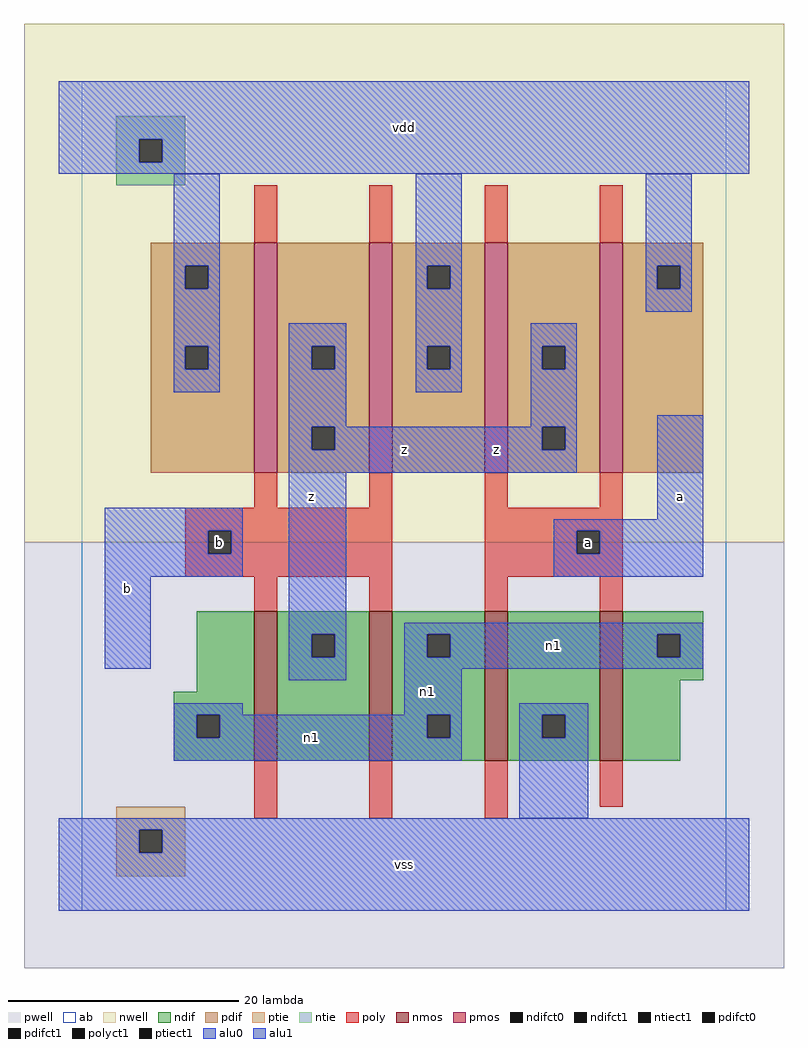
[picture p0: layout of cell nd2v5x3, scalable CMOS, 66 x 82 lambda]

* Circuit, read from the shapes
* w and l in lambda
.subckt nd2v5x3 a b n1 vdd vss z
M1 z b n1 vss nfet w=13 l=2 m=2
M2 vss a n1 vss nfet w=13 l=2 m=2
M3 z b vdd vdd pfet w=20 l=2 m=2
M4 z a vdd vdd pfet w=20 l=2 m=2
.ends

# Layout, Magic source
magic
tech scmos
<< ab >>
rect 0 0 56 72
<< nwell >>
rect -5 32 61 77
<< pwell >>
rect -5 -5 61 32
<< poly >>
rect 15 58 17 63
rect 25 58 27 63
rect 35 58 37 63
rect 45 58 47 63
rect 15 35 17 38
rect 25 35 27 38
rect 9 33 27 35
rect 9 31 11 33
rect 13 31 27 33
rect 9 29 27 31
rect 15 26 17 29
rect 25 26 27 29
rect 35 35 37 38
rect 45 35 47 38
rect 35 33 47 35
rect 35 31 43 33
rect 45 31 47 33
rect 35 29 47 31
rect 35 26 37 29
rect 45 26 47 29
rect 15 8 17 13
rect 25 8 27 13
rect 35 8 37 13
rect 45 9 47 13
<< ndif >>
rect 10 19 15 26
rect 8 17 15 19
rect 8 15 10 17
rect 12 15 15 17
rect 8 13 15 15
rect 17 24 25 26
rect 17 22 20 24
rect 22 22 25 24
rect 17 13 25 22
rect 27 24 35 26
rect 27 22 30 24
rect 32 22 35 24
rect 27 17 35 22
rect 27 15 30 17
rect 32 15 35 17
rect 27 13 35 15
rect 37 17 45 26
rect 37 15 40 17
rect 42 15 45 17
rect 37 13 45 15
rect 47 24 54 26
rect 47 22 50 24
rect 52 22 54 24
rect 47 20 54 22
rect 47 13 52 20
<< pdif >>
rect 6 56 15 58
rect 6 54 9 56
rect 11 54 15 56
rect 6 49 15 54
rect 6 47 9 49
rect 11 47 15 49
rect 6 38 15 47
rect 17 49 25 58
rect 17 47 20 49
rect 22 47 25 49
rect 17 42 25 47
rect 17 40 20 42
rect 22 40 25 42
rect 17 38 25 40
rect 27 56 35 58
rect 27 54 30 56
rect 32 54 35 56
rect 27 49 35 54
rect 27 47 30 49
rect 32 47 35 49
rect 27 38 35 47
rect 37 49 45 58
rect 37 47 40 49
rect 42 47 45 49
rect 37 42 45 47
rect 37 40 40 42
rect 42 40 45 42
rect 37 38 45 40
rect 47 56 54 58
rect 47 54 50 56
rect 52 54 54 56
rect 47 38 54 54
<< alu1 >>
rect -2 67 58 72
rect -2 65 5 67
rect 7 65 58 67
rect -2 64 58 65
rect 18 49 23 51
rect 18 47 20 49
rect 22 47 23 49
rect 18 42 23 47
rect 39 49 43 51
rect 39 47 40 49
rect 42 47 43 49
rect 39 42 43 47
rect 18 40 20 42
rect 22 40 40 42
rect 42 40 43 42
rect 18 38 43 40
rect 2 33 14 35
rect 2 31 11 33
rect 13 31 14 33
rect 2 29 14 31
rect 2 21 6 29
rect 18 24 23 38
rect 50 34 54 43
rect 41 33 54 34
rect 41 31 43 33
rect 45 31 54 33
rect 41 29 54 31
rect 18 22 20 24
rect 22 22 23 24
rect 18 20 23 22
rect -2 7 58 8
rect -2 5 5 7
rect 7 5 58 7
rect -2 0 58 5
<< ptie >>
rect 3 7 9 9
rect 3 5 5 7
rect 7 5 9 7
rect 3 3 9 5
<< ntie >>
rect 3 67 9 69
rect 3 65 5 67
rect 7 65 9 67
rect 3 63 9 65
<< nmos >>
rect 15 13 17 26
rect 25 13 27 26
rect 35 13 37 26
rect 45 13 47 26
<< pmos >>
rect 15 38 17 58
rect 25 38 27 58
rect 35 38 37 58
rect 45 38 47 58
<< polyct1 >>
rect 11 31 13 33
rect 43 31 45 33
<< ndifct0 >>
rect 10 15 12 17
rect 30 22 32 24
rect 30 15 32 17
rect 40 15 42 17
rect 50 22 52 24
<< ndifct1 >>
rect 20 22 22 24
<< ntiect1 >>
rect 5 65 7 67
<< ptiect1 >>
rect 5 5 7 7
<< pdifct0 >>
rect 9 54 11 56
rect 9 47 11 49
rect 30 54 32 56
rect 30 47 32 49
rect 50 54 52 56
<< pdifct1 >>
rect 20 47 22 49
rect 20 40 22 42
rect 40 47 42 49
rect 40 40 42 42
<< alu0 >>
rect 8 56 12 64
rect 8 54 9 56
rect 11 54 12 56
rect 8 49 12 54
rect 29 56 33 64
rect 29 54 30 56
rect 32 54 33 56
rect 8 47 9 49
rect 11 47 12 49
rect 8 45 12 47
rect 29 49 33 54
rect 49 56 53 64
rect 49 54 50 56
rect 52 54 53 56
rect 49 52 53 54
rect 29 47 30 49
rect 32 47 33 49
rect 29 45 33 47
rect 28 24 54 25
rect 28 22 30 24
rect 32 22 50 24
rect 52 22 54 24
rect 28 21 54 22
rect 8 17 14 18
rect 28 17 33 21
rect 8 15 10 17
rect 12 15 30 17
rect 32 15 33 17
rect 8 13 33 15
rect 38 17 44 18
rect 38 15 40 17
rect 42 15 44 17
rect 38 8 44 15
<< labels >>
rlabel alu0 20 15 20 15 6 n1
rlabel alu0 30 19 30 19 6 n1
rlabel alu0 41 23 41 23 6 n1
rlabel alu1 4 28 4 28 6 b
rlabel polyct1 12 32 12 32 6 b
rlabel alu1 20 36 20 36 6 z
rlabel alu1 28 4 28 4 6 vss
rlabel alu1 36 40 36 40 6 z
rlabel alu1 28 40 28 40 6 z
rlabel alu1 28 68 28 68 6 vdd
rlabel polyct1 44 32 44 32 6 a
rlabel alu1 52 36 52 36 6 a
<< end >>
